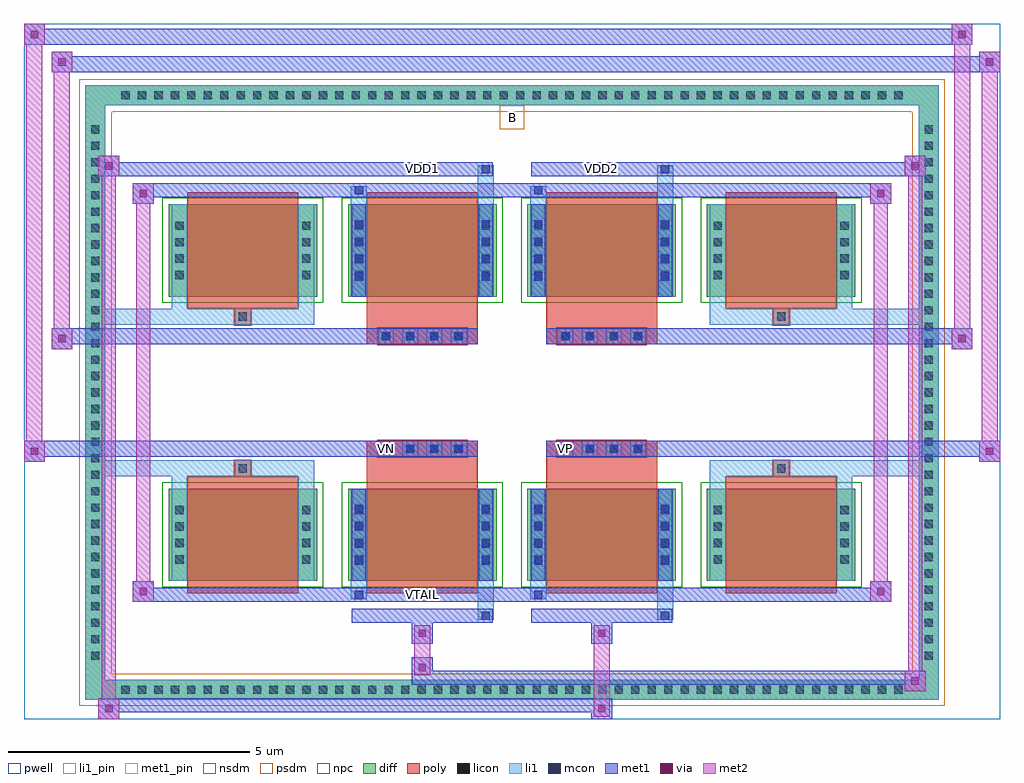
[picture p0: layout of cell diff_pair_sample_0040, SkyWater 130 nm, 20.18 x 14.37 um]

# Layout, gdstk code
import gdstk
lib = gdstk.Library(unit=1e-6, precision=5e-09)
def R(c, l, rs):  # rectangles x0, y0, x1, y1
    for r in rs: c.add(gdstk.rectangle(r[:2], r[2:], *l))
def A(c, l, x, y, w, h, nx, ny, dx, dy):  # array of equal rectangles
    R(c, l, [(x+i*dx, y+j*dy, x+i*dx+w, y+j*dy+h) for i in range(nx) for j in range(ny)])
def P(c, l, *ps):  # polygons
    for p in ps: c.add(gdstk.Polygon(p, *l))
pwell = (64, 44)
diff = (65, 20)
poly = (66, 20)
licon = (66, 44)
li1_pin = (67, 16)
li1 = (67, 20)
mcon = (67, 44)
met1_pin = (68, 16)
met1 = (68, 20)
via = (68, 44)
met2 = (69, 20)
nsdm = (93, 44)
psdm = (94, 20)
npc = (95, 20)

diff_pair_sample_0040 = lib.new_cell('diff_pair_sample_0040')
R(diff_pair_sample_0040, pwell, [(-10.09,-6.75,10.09,7.62), (-7.41,-4.94,-0.01,-0.8), (0.01,-4.94,7.41,-0.8), (-7.41,0.8,-0.01,4.94), (0.01,0.8,7.41,4.94)])
A(diff_pair_sample_0040, diff, -8.195, -6.35, 0.41, 0.41, 48, 2, 0.34, 12.29)
A(diff_pair_sample_0040, diff, -8.82, -5.645, 0.41, 0.41, 1, 33, 0, 0.34)
A(diff_pair_sample_0040, diff, 8.41, -5.645, 0.41, 0.41, 1, 33, 0, 0.34)
A(diff_pair_sample_0040, diff, -7.1, -3.895, 3.07, 1.91, 4, 2, 3.71, 5.88)
R(diff_pair_sample_0040, diff, [(-8.195,-6.35,8.195,-5.94), (-8.82,-5.645,-8.41,5.645), (8.41,-5.645,8.82,5.645), (-8.195,5.94,8.195,6.35)])
P(diff_pair_sample_0040, diff, [(8.82,6.35),(-8.82,6.35),(-8.82,-5.94),(-8.41,-5.94),(-8.41,5.94),(8.41,5.94),(8.41,-5.94),(-8.41,-5.94),(-8.82,-5.94),(-8.82,-6.35),(8.82,-6.35)])
A(diff_pair_sample_0040, poly, -6.71, -4.145, 2.29, 2.41, 4, 2, 3.71, 5.88)
A(diff_pair_sample_0040, poly, -2.77, -1.33, 0.33, 0.33, 4, 2, 0.5, 2.33)
A(diff_pair_sample_0040, poly, 0.94, -1.33, 0.33, 0.33, 4, 2, 0.5, 2.33)
R(diff_pair_sample_0040, poly, [(-5.73,-1.735,-5.4,-1.405), (-5.73,-1.735,-5.4,-1.405), (-3,-1.735,-0.71,-1.33), (0.71,-1.735,3,-1.33), (5.4,-1.735,5.73,-1.405), (5.4,-1.735,5.73,-1.405), (-3,-1.33,-0.71,-1), (0.71,-1.33,3,-1), (-3,1,-0.71,1.33), (0.71,1,3,1.33), (-3,1.33,-0.71,1.735), (0.71,1.33,3,1.735), (-5.73,1.405,-5.4,1.735), (-5.73,1.405,-5.4,1.735), (5.4,1.405,5.73,1.735), (5.4,1.405,5.73,1.735)])
A(diff_pair_sample_0040, licon, -8.075, -6.23, 0.17, 0.17, 48, 2, 0.34, 12.29)
A(diff_pair_sample_0040, licon, -8.7, -5.525, 0.17, 0.17, 1, 33, 0, 0.34)
A(diff_pair_sample_0040, licon, 8.53, -5.525, 0.17, 0.17, 1, 33, 0, 0.34)
A(diff_pair_sample_0040, licon, -6.96, -3.535, 0.17, 0.17, 1, 4, 0, 0.34)
A(diff_pair_sample_0040, licon, -4.34, -3.535, 0.17, 0.17, 1, 4, 0, 0.34)
A(diff_pair_sample_0040, licon, -3.25, -3.535, 0.17, 0.17, 1, 4, 0, 0.34)
A(diff_pair_sample_0040, licon, -0.63, -3.535, 0.17, 0.17, 1, 4, 0, 0.34)
A(diff_pair_sample_0040, licon, 0.46, -3.535, 0.17, 0.17, 1, 4, 0, 0.34)
A(diff_pair_sample_0040, licon, 3.08, -3.535, 0.17, 0.17, 1, 4, 0, 0.34)
A(diff_pair_sample_0040, licon, 4.17, -3.535, 0.17, 0.17, 1, 4, 0, 0.34)
A(diff_pair_sample_0040, licon, 6.79, -3.535, 0.17, 0.17, 1, 4, 0, 0.34)
A(diff_pair_sample_0040, licon, -2.69, -1.25, 0.17, 0.17, 4, 2, 0.5, 2.33)
A(diff_pair_sample_0040, licon, 1.02, -1.25, 0.17, 0.17, 4, 2, 0.5, 2.33)
A(diff_pair_sample_0040, licon, -6.96, 2.345, 0.17, 0.17, 1, 4, 0, 0.34)
A(diff_pair_sample_0040, licon, -4.34, 2.345, 0.17, 0.17, 1, 4, 0, 0.34)
A(diff_pair_sample_0040, licon, -3.25, 2.345, 0.17, 0.17, 1, 4, 0, 0.34)
A(diff_pair_sample_0040, licon, -0.63, 2.345, 0.17, 0.17, 1, 4, 0, 0.34)
A(diff_pair_sample_0040, licon, 0.46, 2.345, 0.17, 0.17, 1, 4, 0, 0.34)
A(diff_pair_sample_0040, licon, 3.08, 2.345, 0.17, 0.17, 1, 4, 0, 0.34)
A(diff_pair_sample_0040, licon, 4.17, 2.345, 0.17, 0.17, 1, 4, 0, 0.34)
A(diff_pair_sample_0040, licon, 6.79, 2.345, 0.17, 0.17, 1, 4, 0, 0.34)
R(diff_pair_sample_0040, licon, [(-5.65,-1.655,-5.48,-1.485), (5.48,-1.655,5.65,-1.485), (-5.65,1.485,-5.48,1.655), (5.48,1.485,5.65,1.655)])
R(diff_pair_sample_0040, li1_pin, [(-0.25,5.44,0.25,5.94)])
A(diff_pair_sample_0040, li1, -8.155, -6.31, 0.33, 0.33, 48, 2, 0.34, 12.29)
A(diff_pair_sample_0040, li1, -8.78, -5.605, 0.33, 0.33, 1, 33, 0, 0.34)
A(diff_pair_sample_0040, li1, 8.45, -5.605, 0.33, 0.33, 1, 33, 0, 0.34)
A(diff_pair_sample_0040, li1, -7.04, -3.615, 0.33, 0.33, 1, 4, 0, 0.34)
A(diff_pair_sample_0040, li1, -4.42, -3.615, 0.33, 0.33, 1, 4, 0, 0.34)
A(diff_pair_sample_0040, li1, -3.33, -3.615, 0.33, 0.33, 1, 4, 0, 0.34)
A(diff_pair_sample_0040, li1, -0.71, -3.615, 0.33, 0.33, 1, 4, 0, 0.34)
A(diff_pair_sample_0040, li1, 0.38, -3.615, 0.33, 0.33, 1, 4, 0, 0.34)
A(diff_pair_sample_0040, li1, 3, -3.615, 0.33, 0.33, 1, 4, 0, 0.34)
A(diff_pair_sample_0040, li1, 4.09, -3.615, 0.33, 0.33, 1, 4, 0, 0.34)
A(diff_pair_sample_0040, li1, 6.71, -3.615, 0.33, 0.33, 1, 4, 0, 0.34)
A(diff_pair_sample_0040, li1, -3.25, -3.565, 0.17, 0.17, 1, 4, 0, 0.36)
A(diff_pair_sample_0040, li1, -0.63, -3.565, 0.17, 0.17, 1, 4, 0, 0.36)
A(diff_pair_sample_0040, li1, 0.46, -3.565, 0.17, 0.17, 1, 4, 0, 0.36)
A(diff_pair_sample_0040, li1, 3.08, -3.565, 0.17, 0.17, 1, 4, 0, 0.36)
A(diff_pair_sample_0040, li1, -2.77, -1.33, 0.33, 0.33, 4, 2, 0.5, 2.33)
A(diff_pair_sample_0040, li1, 0.94, -1.33, 0.33, 0.33, 4, 2, 0.5, 2.33)
A(diff_pair_sample_0040, li1, -7.04, 2.265, 0.33, 0.33, 1, 4, 0, 0.34)
A(diff_pair_sample_0040, li1, -4.42, 2.265, 0.33, 0.33, 1, 4, 0, 0.34)
A(diff_pair_sample_0040, li1, -3.33, 2.265, 0.33, 0.33, 1, 4, 0, 0.34)
A(diff_pair_sample_0040, li1, -0.71, 2.265, 0.33, 0.33, 1, 4, 0, 0.34)
A(diff_pair_sample_0040, li1, 0.38, 2.265, 0.33, 0.33, 1, 4, 0, 0.34)
A(diff_pair_sample_0040, li1, 3, 2.265, 0.33, 0.33, 1, 4, 0, 0.34)
A(diff_pair_sample_0040, li1, 4.09, 2.265, 0.33, 0.33, 1, 4, 0, 0.34)
A(diff_pair_sample_0040, li1, 6.71, 2.265, 0.33, 0.33, 1, 4, 0, 0.34)
A(diff_pair_sample_0040, li1, -3.25, 2.315, 0.17, 0.17, 1, 4, 0, 0.36)
A(diff_pair_sample_0040, li1, -0.63, 2.315, 0.17, 0.17, 1, 4, 0, 0.36)
A(diff_pair_sample_0040, li1, 0.46, 2.315, 0.17, 0.17, 1, 4, 0, 0.36)
A(diff_pair_sample_0040, li1, 3.08, 2.315, 0.17, 0.17, 1, 4, 0, 0.36)
R(diff_pair_sample_0040, li1, [(-8.82,-6.35,-8.41,-5.94), (-8.82,-6.35,-8.41,-5.94), (-8.41,-6.35,8.41,-5.94), (8.41,-6.35,8.82,-5.94), (8.41,-6.35,8.82,-5.94), (-8.82,-5.94,-8.41,5.94), (8.41,-5.94,8.82,5.94), (-0.71,-4.7,-0.38,-3.895), (-0.63,-4.7,-0.46,-4.53), (3,-4.7,3.33,-3.895), (3.08,-4.7,3.25,-4.53), (-3.33,-4.27,-3,-3.895), (-3.25,-4.27,-3.08,-4.1), (0.38,-4.27,0.71,-3.895), (0.46,-4.27,0.63,-4.1), (-7.04,-3.895,-6.71,-1.985), (-4.42,-3.895,-4.09,-1.985), (-3.33,-3.895,-3,-1.985), (-0.71,-3.895,-0.38,-1.985), (0.38,-3.895,0.71,-1.985), (3,-3.895,3.33,-1.985), (4.09,-3.895,4.42,-1.985), (6.71,-3.895,7.04,-1.985), (-3.25,-3.565,-3.08,-2.315), (-0.63,-3.565,-0.46,-2.315), (0.46,-3.565,0.63,-2.315), (3.08,-3.565,3.25,-2.315), (-7.04,-1.985,-6.71,-1.405), (-4.42,-1.985,-4.09,-1.405), (4.09,-1.985,4.42,-1.405), (6.71,-1.985,7.04,-1.405), (-8.82,-1.735,-5.73,-1.405), (-7.04,-1.735,-5.73,-1.405), (-5.73,-1.735,-5.4,-1.405), (-5.4,-1.735,-4.09,-1.405), (4.09,-1.735,5.4,-1.405), (5.4,-1.735,5.73,-1.405), (5.4,-1.735,8.82,-1.405), (5.73,-1.735,7.04,-1.405), (-8.82,1.405,-5.73,1.735), (-7.04,1.405,-5.73,1.735), (-7.04,1.405,-6.71,1.985), (-5.73,1.405,-5.4,1.735), (-5.4,1.405,-4.09,1.735), (-4.42,1.405,-4.09,1.985), (4.09,1.405,5.4,1.735), (4.09,1.405,4.42,1.985), (5.4,1.405,5.73,1.735), (5.4,1.405,8.82,1.735), (5.73,1.405,7.04,1.735), (6.71,1.405,7.04,1.985), (-7.04,1.985,-6.71,3.895), (-4.42,1.985,-4.09,3.895), (-3.33,1.985,-3,3.895), (-0.71,1.985,-0.38,3.895), (0.38,1.985,0.71,3.895), (3,1.985,3.33,3.895), (4.09,1.985,4.42,3.895), (6.71,1.985,7.04,3.895), (-3.25,2.315,-3.08,3.565), (-0.63,2.315,-0.46,3.565), (0.46,2.315,0.63,3.565), (3.08,2.315,3.25,3.565), (-3.33,3.895,-3,4.27), (-0.71,3.895,-0.38,4.7), (0.38,3.895,0.71,4.27), (3,3.895,3.33,4.7), (-3.25,4.1,-3.08,4.27), (0.46,4.1,0.63,4.27), (-0.63,4.53,-0.46,4.7), (3.08,4.53,3.25,4.7), (-8.82,5.94,-8.41,6.35), (-8.82,5.94,-8.41,6.35), (-8.41,5.94,8.41,6.35), (8.41,5.94,8.82,6.35), (8.41,5.94,8.82,6.35)])
A(diff_pair_sample_0040, mcon, -3.25, -3.565, 0.17, 0.17, 1, 4, 0, 0.36)
A(diff_pair_sample_0040, mcon, -0.63, -3.565, 0.17, 0.17, 1, 4, 0, 0.36)
A(diff_pair_sample_0040, mcon, 0.46, -3.565, 0.17, 0.17, 1, 4, 0, 0.36)
A(diff_pair_sample_0040, mcon, 3.08, -3.565, 0.17, 0.17, 1, 4, 0, 0.36)
A(diff_pair_sample_0040, mcon, -2.69, -1.25, 0.17, 0.17, 4, 2, 0.5, 2.33)
A(diff_pair_sample_0040, mcon, 1.02, -1.25, 0.17, 0.17, 4, 2, 0.5, 2.33)
A(diff_pair_sample_0040, mcon, -3.25, 2.315, 0.17, 0.17, 1, 4, 0, 0.36)
A(diff_pair_sample_0040, mcon, -0.63, 2.315, 0.17, 0.17, 1, 4, 0, 0.36)
A(diff_pair_sample_0040, mcon, 0.46, 2.315, 0.17, 0.17, 1, 4, 0, 0.36)
A(diff_pair_sample_0040, mcon, 3.08, 2.315, 0.17, 0.17, 1, 4, 0, 0.36)
R(diff_pair_sample_0040, mcon, [(-0.63,-4.7,-0.46,-4.53), (3.08,-4.7,3.25,-4.53), (-3.25,-4.27,-3.08,-4.1), (0.46,-4.27,0.63,-4.1), (-3.25,4.1,-3.08,4.27), (0.46,4.1,0.63,4.27), (-0.63,4.53,-0.46,4.7), (3.08,4.53,3.25,4.7)])
R(diff_pair_sample_0040, met1_pin, [(-1.99,-4.31,-1.72,-4.04), (-2.74,-1.29,-2.47,-1.02), (0.97,-1.29,1.24,-1.02), (-1.99,4.49,-1.72,4.76), (1.72,4.49,1.99,4.76)])
A(diff_pair_sample_0040, met1, -3.31, -3.625, 0.29, 0.29, 1, 4, 0, 0.36)
A(diff_pair_sample_0040, met1, -0.69, -3.625, 0.29, 0.29, 1, 4, 0, 0.36)
A(diff_pair_sample_0040, met1, 0.4, -3.625, 0.29, 0.29, 1, 4, 0, 0.36)
A(diff_pair_sample_0040, met1, 3.02, -3.625, 0.29, 0.29, 1, 4, 0, 0.36)
A(diff_pair_sample_0040, met1, -2.75, -1.31, 0.29, 0.29, 4, 2, 0.5, 2.33)
A(diff_pair_sample_0040, met1, 0.96, -1.31, 0.29, 0.29, 4, 2, 0.5, 2.33)
A(diff_pair_sample_0040, met1, -3.31, 2.255, 0.29, 0.29, 1, 4, 0, 0.36)
A(diff_pair_sample_0040, met1, -0.69, 2.255, 0.29, 0.29, 1, 4, 0, 0.36)
A(diff_pair_sample_0040, met1, 0.4, 2.255, 0.29, 0.29, 1, 4, 0, 0.36)
A(diff_pair_sample_0040, met1, 3.02, 2.255, 0.29, 0.29, 1, 4, 0, 0.36)
R(diff_pair_sample_0040, met1, [(-8.55,-6.75,-8.12,-6.32), (1.64,-6.75,2.07,-6.32), (-8.55,-6.61,2.07,-6.32), (8.12,-6.18,8.55,-5.75), (-2.07,-6.04,8.55,-5.75), (-2.07,-5.9,-1.64,-5.47), (-2.07,-5.19,-1.64,-4.76), (1.64,-5.19,2.07,-4.76), (-3.31,-4.76,-0.4,-4.47), (-0.69,-4.76,-0.4,-4.47), (0.4,-4.76,3.31,-4.47), (3.02,-4.76,3.31,-4.47), (-7.84,-4.33,-7.41,-3.9), (-7.84,-4.33,-3.31,-4.04), (-3.31,-4.33,-3.02,-4.04), (-3.31,-4.33,-0.4,-4.04), (-0.4,-4.33,0.4,-4.04), (0.4,-4.33,0.69,-4.04), (0.4,-4.33,3.31,-4.04), (3.31,-4.33,7.84,-4.04), (7.41,-4.33,7.84,-3.9), (-3.31,-3.895,-3.02,-1.985), (-0.69,-3.895,-0.4,-1.985), (0.4,-3.895,0.69,-1.985), (3.02,-3.895,3.31,-1.985), (-10.09,-1.43,-9.66,-1), (9.66,-1.43,10.09,-1), (-10.09,-1.33,-0.71,-1), (-3,-1.33,-0.71,-1), (0.71,-1.33,3,-1), (0.71,-1.33,10.09,-1), (-9.52,0.9,-9.09,1.33), (9.09,0.9,9.52,1.33), (-9.52,1,-3,1.33), (-3,1,-0.71,1.33), (0.71,1,3,1.33), (3,1,9.52,1.33), (-3.31,1.985,-3.02,3.895), (-0.69,1.985,-0.4,3.895), (0.4,1.985,0.69,3.895), (3.02,1.985,3.31,3.895), (-7.84,3.9,-7.41,4.33), (7.41,3.9,7.84,4.33), (-7.84,4.04,-3.31,4.33), (-3.31,4.04,-3.02,4.33), (-3.31,4.04,-0.4,4.33), (-0.4,4.04,0.4,4.33), (0.4,4.04,0.69,4.33), (0.4,4.04,3.31,4.33), (3.31,4.04,7.84,4.33), (-8.55,4.47,-8.12,4.9), (-8.55,4.47,-3.31,4.76), (-3.31,4.47,-0.4,4.76), (-0.69,4.47,-0.4,4.76), (0.4,4.47,3.31,4.76), (3.02,4.47,3.31,4.76), (3.31,4.47,8.55,4.76), (8.12,4.47,8.55,4.9), (-9.52,6.62,-9.09,7.05), (-9.52,6.62,-7.41,6.95), (-7.41,6.62,7.41,6.95), (7.41,6.62,10.09,6.95), (9.66,6.62,10.09,7.05), (-10.09,7.19,-9.66,7.62), (-10.09,7.19,-7.41,7.52), (-7.41,7.19,7.41,7.52), (7.41,7.19,9.52,7.52), (9.09,7.19,9.52,7.62)])
R(diff_pair_sample_0040, via, [(-8.41,-6.61,-8.26,-6.46), (1.78,-6.61,1.93,-6.46), (8.26,-6.04,8.41,-5.89), (-1.93,-5.76,-1.78,-5.61), (-1.93,-5.05,-1.78,-4.9), (1.78,-5.05,1.93,-4.9), (-7.7,-4.19,-7.55,-4.04), (7.55,-4.19,7.7,-4.04), (-9.95,-1.29,-9.8,-1.14), (9.8,-1.29,9.95,-1.14), (-9.38,1.04,-9.23,1.19), (9.23,1.04,9.38,1.19), (-7.7,4.04,-7.55,4.19), (7.55,4.04,7.7,4.19), (-8.41,4.61,-8.26,4.76), (8.26,4.61,8.41,4.76), (-9.38,6.76,-9.23,6.91), (9.8,6.76,9.95,6.91), (-9.95,7.33,-9.8,7.48), (9.23,7.33,9.38,7.48)])
R(diff_pair_sample_0040, met2, [(-8.55,-6.75,-8.12,-6.32), (-8.48,-6.75,-8.19,4.9), (-8.19,-6.75,-8.12,-6.32), (-8.5,-6.7,-8.17,-6.37), (1.69,-6.7,2.02,-6.37), (1.69,-6.37,2.02,-5.14), (8.12,-6.18,8.55,-5.75), (8.19,-6.18,8.48,4.9), (8.48,-6.18,8.55,-5.75), (8.17,-6.13,8.5,-5.8), (-2.02,-5.85,-1.69,-5.52), (-2.02,-5.52,-1.69,-5.14), (-2.02,-5.14,-1.69,-4.81), (1.69,-5.14,2.02,-4.81), (-7.84,-4.33,-7.41,-3.9), (-7.77,-4.33,-7.48,4.33), (-7.48,-4.33,-7.41,-3.9), (7.41,-4.33,7.84,-3.9), (7.48,-4.33,7.77,4.33), (7.77,-4.33,7.84,-3.9), (-7.79,-4.28,-7.46,-3.95), (7.46,-4.28,7.79,-3.95), (-10.09,-1.43,-9.66,-1), (-10.04,-1.43,-9.71,7.62), (-9.71,-1.43,-9.66,-1), (9.66,-1.43,10.09,-1), (9.71,-1.43,10.04,7.05), (10.04,-1.43,10.09,-1), (-10.04,-1.38,-9.71,-1.05), (9.71,-1.38,10.04,-1.05), (-9.52,0.9,-9.09,1.33), (-9.47,0.9,-9.14,7.05), (-9.14,0.9,-9.09,1.33), (9.09,0.9,9.52,1.33), (9.14,0.9,9.47,7.62), (9.47,0.9,9.52,1.33), (-9.47,0.95,-9.14,1.28), (9.14,0.95,9.47,1.28), (-7.84,3.9,-7.41,4.33), (-7.48,3.9,-7.41,4.33), (7.41,3.9,7.84,4.33), (7.77,3.9,7.84,4.33), (-7.79,3.95,-7.46,4.28), (7.46,3.95,7.79,4.28), (-8.55,4.47,-8.12,4.9), (-8.19,4.47,-8.12,4.9), (8.12,4.47,8.55,4.9), (8.48,4.47,8.55,4.9), (-8.5,4.52,-8.17,4.85), (8.17,4.52,8.5,4.85), (-9.52,6.62,-9.09,7.05), (-9.14,6.62,-9.09,7.05), (9.66,6.62,10.09,7.05), (10.04,6.62,10.09,7.05), (-9.47,6.67,-9.14,7), (9.71,6.67,10.04,7), (-10.09,7.19,-9.66,7.62), (-9.71,7.19,-9.66,7.62), (9.09,7.19,9.52,7.62), (9.47,7.19,9.52,7.62), (-10.04,7.24,-9.71,7.57), (9.14,7.24,9.47,7.57)])
A(diff_pair_sample_0040, nsdm, -7.23, -4.025, 3.33, 2.17, 4, 2, 3.71, 5.88)
P(diff_pair_sample_0040, psdm, [(8.95,6.48),(-8.95,6.48),(-8.95,-5.81),(-8.28,-5.81),(-8.28,5.81),(8.28,5.81),(8.28,-5.81),(-8.28,-5.81),(-8.95,-5.81),(-8.95,-6.48),(8.95,-6.48)])
A(diff_pair_sample_0040, npc, -2.79, -1.35, 0.37, 0.37, 4, 2, 0.5, 2.33)
A(diff_pair_sample_0040, npc, 0.92, -1.35, 0.37, 0.37, 4, 2, 0.5, 2.33)
R(diff_pair_sample_0040, npc, [(-5.75,-1.755,-5.38,-1.385), (5.38,-1.755,5.75,-1.385), (-2.79,-1.35,-1.92,-0.98), (-2.79,-1.35,-1.92,-0.98), (-2.29,-1.35,-1.42,-0.98), (-2.29,-1.35,-1.42,-0.98), (-1.79,-1.35,-0.92,-0.98), (-1.79,-1.35,-0.92,-0.98), (0.92,-1.35,1.79,-0.98), (0.92,-1.35,1.79,-0.98), (1.42,-1.35,2.29,-0.98), (1.42,-1.35,2.29,-0.98), (1.92,-1.35,2.79,-0.98), (1.92,-1.35,2.79,-0.98), (-2.79,0.98,-1.92,1.35), (-2.79,0.98,-1.92,1.35), (-2.29,0.98,-1.42,1.35), (-2.29,0.98,-1.42,1.35), (-1.79,0.98,-0.92,1.35), (-1.79,0.98,-0.92,1.35), (0.92,0.98,1.79,1.35), (0.92,0.98,1.79,1.35), (1.42,0.98,2.29,1.35), (1.42,0.98,2.29,1.35), (1.92,0.98,2.79,1.35), (1.92,0.98,2.79,1.35), (-5.75,1.385,-5.38,1.755), (5.38,1.385,5.75,1.755)])
diff_pair_sample_0040.add(gdstk.Label('VTAIL', (-1.855,-4.175), layer=68, texttype=5))
diff_pair_sample_0040.add(gdstk.Label('VN', (-2.605,-1.155), layer=68, texttype=5))
diff_pair_sample_0040.add(gdstk.Label('VP', (1.105,-1.155), layer=68, texttype=5))
diff_pair_sample_0040.add(gdstk.Label('B', (0,5.69), layer=67, texttype=5))
diff_pair_sample_0040.add(gdstk.Label('VDD2', (1.855,4.625), layer=68, texttype=5))
diff_pair_sample_0040.add(gdstk.Label('VDD1', (-1.855,4.625), layer=68, texttype=5))

lib.write_gds('diff_pair_sample_0040.gds')
